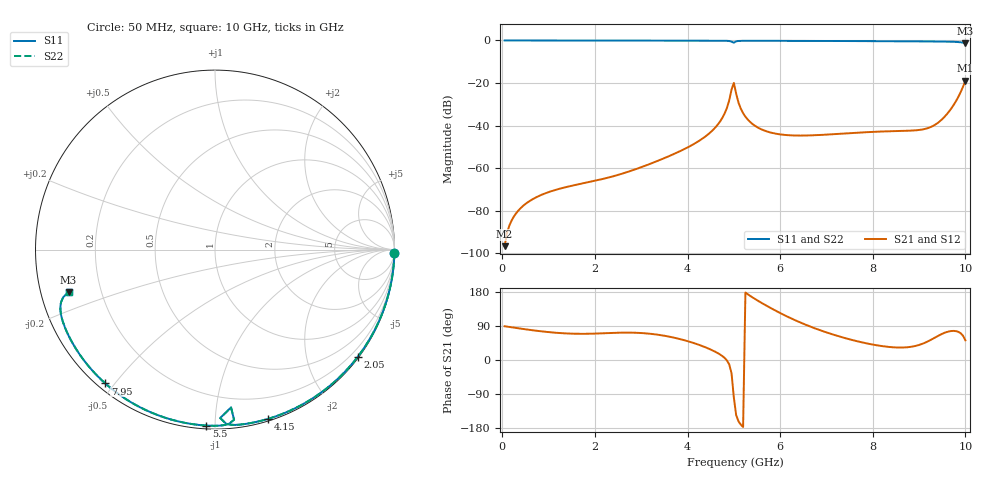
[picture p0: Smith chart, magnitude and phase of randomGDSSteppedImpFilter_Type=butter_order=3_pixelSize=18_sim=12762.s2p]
! freq	dB(S11)	phase(S11)	dB(S12)	phase(S12)
!  dB(S21)	phase(S21)	dB(S22)	phase(S22)
!S-par simulation data
#  GHz  S  DB  R 50
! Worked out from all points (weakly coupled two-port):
!   200 points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, 50 MHz to 10 GHz, reference 50 ohm
!   highest |S21| = -18.89 dB at 10 GHz (marker M1); lowest = -96.6 dB at 50 MHz (marker M2)
!   lowest |S11| = -1.4 dB at 10 GHz (marker M3), VSWR 12.30, Z = 4.15 - j7.08 ohm
!   |S11| at or under -10 dB: nowhere
!   |S22| runs from -1.4 to 0.0 dB; largest |S21 - S12| = 0
!   S11 on the Smith chart (normalised r, x): 50 MHz: open; 2.05 GHz: 0.03, -2.99; 4.15 GHz: 0.02, -1.36; 5.5 GHz: 0.02, -0.95; 7.95 GHz: 0.02, -0.47; 10 GHz: 0.08, -0.14
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0.05  -0.00 -0.9  -96.63 89.1  -96.63 89.1  -0.00 -0.9
0.35  -0.01 -6.4  -79.81 83.6  -79.81 83.6  -0.01 -6.4
0.85  -0.02 -15.5  -72.49 75.6  -72.49 75.6  -0.02 -15.5
1.75  -0.04 -31.7  -67.08 69.1  -67.08 69.1  -0.04 -31.6
2.05  -0.05 -36.9  -65.68 69.9  -65.68 69.9  -0.05 -36.9
3.4  -0.08 -60.1  -56.17 66.0  -56.17 66.0  -0.08 -60.1
4.15  -0.10 -72.5  -48.48 44.1  -48.48 44.1  -0.10 -72.5
4.7  -0.13 -81.8  -38.14 14.7  -38.14 14.7  -0.13 -81.7
4.85  -0.18 -84.9  -31.73 -1.0  -31.73 -1.0  -0.18 -84.9
4.95  -0.55 -88.2  -23.08 -34.8  -23.08 -34.8  -0.54 -88.2
5  -1.07 -84.2  -19.93 -99.1  -19.93 -99.1  -1.07 -84.2
5.05  -0.41 -83.6  -24.98 -145.4  -24.98 -145.4  -0.41 -83.6
5.2  -0.17 -87.7  -34.15 -176.8  -34.15 -176.8  -0.17 -87.7
5.5  -0.16 -92.9  -40.68 157.8  -40.68 157.8  -0.16 -92.9
5.95  -0.18 -99.9  -43.97 127.1  -43.97 127.1  -0.18 -99.9
6.7  -0.22 -111.1  -44.56 85.9  -44.56 85.9  -0.22 -111.1
7.95  -0.32 -129.4  -43.00 41.8  -43.00 41.8  -0.32 -129.3
8.35  -0.36 -135.2  -42.65 34.4  -42.65 34.4  -0.36 -135.2
9  -0.43 -144.8  -42.05 39.7  -42.05 39.7  -0.43 -144.8
9.35  -0.49 -150.3  -39.53 59.6  -39.53 59.6  -0.49 -150.3
9.7  -0.60 -156.4  -31.81 76.5  -31.81 76.5  -0.60 -156.4
10  -1.42 -163.8  -18.89 51.8  -18.89 51.8  -1.42 -163.8
